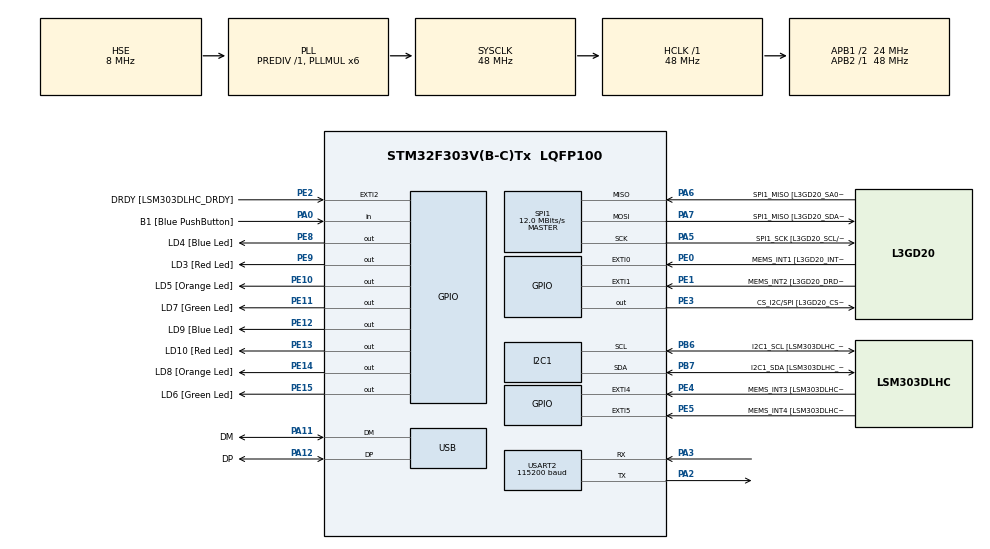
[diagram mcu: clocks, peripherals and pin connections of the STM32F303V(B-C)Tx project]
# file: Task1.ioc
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I2C1.Timing=0x00201D2B
I2C1.Timing-I2C=0x2000090E
Mcu.Family=STM32F3
Mcu.Name=STM32F303V(B-C)Tx
Mcu.Package=LQFP100
NVIC.PriorityGroup=NVIC_PRIORITYGROUP_0
PA0.GPIO_Label=B1 [Blue PushButton]
PA0.Signal=GPIO_Input
PA11.GPIO_Label=DM
PA11.Mode=Device
PA11.Signal=USB_DM
PA12.GPIO_Label=DP
PA12.Mode=Device
PA12.Signal=USB_DP
PA13.GPIO_Label=SWDIO
PA13.Mode=Serial_Wire
PA13.Signal=SYS_JTMS-SWDIO
PA14.GPIO_Label=SWCLK
PA14.Mode=Serial_Wire
PA14.Signal=SYS_JTCK-SWCLK
PA2.Mode=Asynchronous
PA2.Signal=USART2_TX
PA3.Mode=Asynchronous
PA3.Signal=USART2_RX
PA5.GPIO_Label=SPI1_SCK [L3GD20_SCL/SPC]
PA5.Mode=Full_Duplex_Master
PA5.Signal=SPI1_SCK
PA6.GPIO_Label=SPI1_MISO [L3GD20_SA0/SDO]
PA6.Mode=Full_Duplex_Master
PA6.Signal=SPI1_MISO
PA7.GPIO_Label=SPI1_MISO [L3GD20_SDA/SDI/SDO]
PA7.Mode=Full_Duplex_Master
PA7.Signal=SPI1_MOSI
PB3.GPIO_Label=SWO
PB3.Signal=SYS_JTDO-TRACESWO
PB6.GPIO_Label=I2C1_SCL [LSM303DLHC_SCL]
PB6.GPIO_Pu=GPIO_PULLUP
PB6.Mode=I2C
PB6.Signal=I2C1_SCL
PB7.GPIO_Label=I2C1_SDA [LSM303DLHC_SDA]
PB7.GPIO_Pu=GPIO_PULLUP
PB7.Mode=I2C
PB7.Signal=I2C1_SDA
PC14-OSC32_IN.GPIO_Label=OSC32_IN
PC14-OSC32_IN.Signal=RCC_OSC32_IN
PC15-OSC32_OUT.GPIO_Label=OSC32_OUT
PC15-OSC32_OUT.Signal=RCC_OSC32_OUT
PE0.GPIO_Label=MEMS_INT1 [L3GD20_INT1]
PE0.GPIO_ModeDefaultEXTI=GPIO_MODE_EVT_RISING
PE0.Signal=GPXTI0
PE1.GPIO_Label=MEMS_INT2 [L3GD20_DRDY/INT2]
PE1.GPIO_ModeDefaultEXTI=GPIO_MODE_EVT_RISING
PE1.Signal=GPXTI1
PE10.GPIO_Label=LD5 [Orange Led]
PE10.Signal=GPIO_Output
PE11.GPIO_Label=LD7 [Green Led]
PE11.Signal=GPIO_Output
PE12.GPIO_Label=LD9 [Blue Led]
PE12.Signal=GPIO_Output
PE13.GPIO_Label=LD10 [Red Led]
PE13.Signal=GPIO_Output
PE14.GPIO_Label=LD8 [Orange Led]
PE14.Signal=GPIO_Output
PE15.GPIO_Label=LD6 [Green Led]
PE15.Signal=GPIO_Output
PE2.GPIO_Label=DRDY [LSM303DLHC_DRDY]
PE2.GPIO_ModeDefaultEXTI=GPIO_MODE_EVT_RISING
PE2.Signal=GPXTI2
PE3.GPIO_Label=CS_I2C/SPI [L3GD20_CS_I2C/SPI]
PE3.Signal=GPIO_Output
PE4.GPIO_Label=MEMS_INT3 [LSM303DLHC_INT1]
PE4.GPIO_ModeDefaultEXTI=GPIO_MODE_EVT_RISING
PE4.Signal=GPXTI4
PE5.GPIO_Label=MEMS_INT4 [LSM303DLHC_INT2]
PE5.GPIO_ModeDefaultEXTI=GPIO_MODE_EVT_RISING
PE5.Signal=GPXTI5
PE8.GPIO_Label=LD4 [Blue Led]
PE8.Signal=GPIO_Output
PE9.GPIO_Label=LD3 [Red Led]
PE9.Signal=GPIO_Output
PF0-OSC_IN.GPIO_Label=OSC_IN
PF0-OSC_IN.Mode=HSE-External-Clock-Source
PF0-OSC_IN.Signal=RCC_OSC_IN
PF1-OSC_OUT.GPIO_Label=OSC_OUT
PF1-OSC_OUT.Signal=RCC_OSC_OUT
ProjectManager.HeapSize=0x200
ProjectManager.StackSize=0x400
ProjectManager.TargetToolchain=CMake
RCC.AHBFreq_Value=48000000
RCC.APB1CLKDivider=RCC_HCLK_DIV2
RCC.APB1Freq_Value=24000000
RCC.APB1TimFreq_Value=48000000
RCC.APB2Freq_Value=48000000
RCC.APB2TimFreq_Value=48000000
RCC.CortexFreq_Value=48000000
RCC.HCLKFreq_Value=48000000
RCC.HSE_VALUE=8000000
RCC.HSI_VALUE=8000000
RCC.LSE_VALUE=32768
RCC.PLLMUL=RCC_PLL_MUL6
RCC.SYSCLKFreq_VALUE=48000000
RCC.SYSCLKSourceVirtual=RCC_SYSCLKSOURCE_PLLCLK
RCC.USBFreq_Value=48000000
SPI1.BaudRatePrescaler=SPI_BAUDRATEPRESCALER_4
SPI1.BaudRatePrescaler-Full_Duplex_Master=SPI_BAUDRATEPRESCALER_2
SPI1.CalculateBaudRate=12.0 MBits/s
SPI1.CalculateBaudRate-Full_Duplex_Master=24.0 MBits/s
SPI1.Direction=SPI_DIRECTION_2LINES
SPI1.Mode=SPI_MODE_MASTER
SPI1.Mode-Full_Duplex_Master=SPI_MODE_MASTER
SPI1.VirtualType=VM_MASTER
USART2.BaudRate=115200
USART2.VirtualMode-Asynchronous=VM_ASYNC
board=STM32F3DISCOVERY

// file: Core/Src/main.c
/* USER CODE BEGIN Header */
/**
 ******************************************************************************
 * @file           : main.c
 * @brief          : Main program body
 ******************************************************************************
 * @attention
 *
 * Copyright (c) 2025 STMicroelectronics.
 * All rights reserved.
 *
 * This software is licensed under terms that can be found in the LICENSE file
 * in the root directory of this software component.
 * If no LICENSE file comes with this software, it is provided AS-IS.
 *
 ******************************************************************************
 */
/* USER CODE END Header */
#include "main.h"
#include "stdio.h"

I2C_HandleTypeDef hi2c1;

SPI_HandleTypeDef hspi1;

UART_HandleTypeDef huart2;

PCD_HandleTypeDef hpcd_USB_FS;

void SystemClock_Config(void);
static void MX_GPIO_Init(void);
static void MX_I2C1_Init(void);
static void MX_SPI1_Init(void);
static void MX_USART2_UART_Init(void);
static void MX_USB_PCD_Init(void);

/* USER CODE BEGIN 0 */
// Global handles generated by CubeMX
extern I2C_HandleTypeDef hi2c1;
extern UART_HandleTypeDef huart2;

// LSM303AGR configuration
#define LSM303AGR_ADDR (0x33) // 7-bit I2C address
#define WHO_AM_I_REG 0x0F
#define EXPECTED_ID 0x33

uint8_t whoami = 0;
char msg[64];

// Redirect printf to UART2
int _write(int file, char *ptr, int len)
{
  HAL_UART_Transmit(&huart2, (uint8_t *)ptr, len, HAL_MAX_DELAY);
  return len;
}
/* USER CODE END 0 */

int main(void)
{

  /* MCU Configuration--------------------------------------------------------*/

  /* Reset of all peripherals, Initializes the Flash interface and the Systick. */
  HAL_Init();

  /* Configure the system clock */
  SystemClock_Config();

  /* Initialize all configured peripherals */
  MX_GPIO_Init();
  MX_I2C1_Init();
  MX_SPI1_Init();
  MX_USART2_UART_Init();
  MX_USB_PCD_Init();
  /* USER CODE BEGIN 2 */
  printf("\r\n--- I2C WHO_AM_I Test ---\r\n");

  HAL_Delay(100); // let sensor stabilize

  // Check if device is responding
  if (HAL_I2C_IsDeviceReady(&hi2c1, LSM303AGR_ADDR, 3, HAL_MAX_DELAY) == HAL_OK)
  {
    printf("Device detected at 0x%X\r\n", LSM303AGR_ADDR >> 1);
  }
  else
  {
    printf("Device not found at 0x%X\r\n", LSM303AGR_ADDR >> 1);
  }

  // Read WHO_AM_I register
  if (HAL_I2C_Mem_Read(&hi2c1, LSM303AGR_ADDR, WHO_AM_I_REG, I2C_MEMADD_SIZE_8BIT, &whoami, 1, HAL_MAX_DELAY) == HAL_OK)
  {
    printf("WHO_AM_I Register = 0x%02X\r\n", whoami);
    if (whoami == EXPECTED_ID)
      printf("Sensor verified!\r\n");
    else
      printf("Wrong ID! Expected 0x%02X\r\n", EXPECTED_ID);
  }
  else
  {
    printf("Failed to read WHO_AM_I register.\r\n");
  }
  /* USER CODE END 2 */

  /* Infinite loop */
  while (1)
  {
    HAL_I2C_Mem_Read(&hi2c1, LSM303AGR_ADDR, WHO_AM_I_REG, I2C_MEMADD_SIZE_8BIT, &whoami, 1, HAL_MAX_DELAY);
    printf("WHO_AM_I = 0x%02X\r\n", whoami);
    HAL_Delay(2000);
  }
}

void SystemClock_Config(void)
{
  RCC_OscInitTypeDef RCC_OscInitStruct = {0};
  RCC_ClkInitTypeDef RCC_ClkInitStruct = {0};
  RCC_PeriphCLKInitTypeDef PeriphClkInit = {0};

  /** Initializes the RCC Oscillators according to the specified parameters
   * in the RCC_OscInitTypeDef structure.
   */
  RCC_OscInitStruct.OscillatorType = RCC_OSCILLATORTYPE_HSI | RCC_OSCILLATORTYPE_HSE;
  RCC_OscInitStruct.HSEState = RCC_HSE_BYPASS;
  RCC_OscInitStruct.HSEPredivValue = RCC_HSE_PREDIV_DIV1;
  RCC_OscInitStruct.HSIState = RCC_HSI_ON;
  RCC_OscInitStruct.HSICalibrationValue = RCC_HSICALIBRATION_DEFAULT;
  RCC_OscInitStruct.PLL.PLLState = RCC_PLL_ON;
  RCC_OscInitStruct.PLL.PLLSource = RCC_PLLSOURCE_HSE;
  RCC_OscInitStruct.PLL.PLLMUL = RCC_PLL_MUL6;
  if (HAL_RCC_OscConfig(&RCC_OscInitStruct) != HAL_OK)
  {
    Error_Handler();
  }

  /** Initializes the CPU, AHB and APB buses clocks
   */
  RCC_ClkInitStruct.ClockType = RCC_CLOCKTYPE_HCLK | RCC_CLOCKTYPE_SYSCLK | RCC_CLOCKTYPE_PCLK1 | RCC_CLOCKTYPE_PCLK2;
  RCC_ClkInitStruct.SYSCLKSource = RCC_SYSCLKSOURCE_PLLCLK;
  RCC_ClkInitStruct.AHBCLKDivider = RCC_SYSCLK_DIV1;
  RCC_ClkInitStruct.APB1CLKDivider = RCC_HCLK_DIV2;
  RCC_ClkInitStruct.APB2CLKDivider = RCC_HCLK_DIV1;

  if (HAL_RCC_ClockConfig(&RCC_ClkInitStruct, FLASH_LATENCY_1) != HAL_OK)
  {
    Error_Handler();
  }
  PeriphClkInit.PeriphClockSelection = RCC_PERIPHCLK_USB | RCC_PERIPHCLK_USART2 | RCC_PERIPHCLK_I2C1;
  PeriphClkInit.Usart2ClockSelection = RCC_USART2CLKSOURCE_PCLK1;
  PeriphClkInit.I2c1ClockSelection = RCC_I2C1CLKSOURCE_HSI;
  PeriphClkInit.USBClockSelection = RCC_USBCLKSOURCE_PLL;
  if (HAL_RCCEx_PeriphCLKConfig(&PeriphClkInit) != HAL_OK)
  {
    Error_Handler();
  }
}

static void MX_I2C1_Init(void)
{

  hi2c1.Instance = I2C1;
  hi2c1.Init.Timing = 0x00201D2B;
  hi2c1.Init.OwnAddress1 = 0;
  hi2c1.Init.AddressingMode = I2C_ADDRESSINGMODE_7BIT;
  hi2c1.Init.DualAddressMode = I2C_DUALADDRESS_DISABLE;
  hi2c1.Init.OwnAddress2 = 0;
  hi2c1.Init.OwnAddress2Masks = I2C_OA2_NOMASK;
  hi2c1.Init.GeneralCallMode = I2C_GENERALCALL_DISABLE;
  hi2c1.Init.NoStretchMode = I2C_NOSTRETCH_DISABLE;
  if (HAL_I2C_Init(&hi2c1) != HAL_OK)
  {
    Error_Handler();
  }

  /** Configure Analogue filter
   */
  if (HAL_I2CEx_ConfigAnalogFilter(&hi2c1, I2C_ANALOGFILTER_ENABLE) != HAL_OK)
  {
    Error_Handler();
  }

  /** Configure Digital filter
   */
  if (HAL_I2CEx_ConfigDigitalFilter(&hi2c1, 0) != HAL_OK)
  {
    Error_Handler();
  }
}

static void MX_SPI1_Init(void)
{

  /* SPI1 parameter configuration*/
  hspi1.Instance = SPI1;
  hspi1.Init.Mode = SPI_MODE_MASTER;
  hspi1.Init.Direction = SPI_DIRECTION_2LINES;
  hspi1.Init.DataSize = SPI_DATASIZE_4BIT;
  hspi1.Init.CLKPolarity = SPI_POLARITY_LOW;
  hspi1.Init.CLKPhase = SPI_PHASE_1EDGE;
  hspi1.Init.NSS = SPI_NSS_SOFT;
  hspi1.Init.BaudRatePrescaler = SPI_BAUDRATEPRESCALER_4;
  hspi1.Init.FirstBit = SPI_FIRSTBIT_MSB;
  hspi1.Init.TIMode = SPI_TIMODE_DISABLE;
  hspi1.Init.CRCCalculation = SPI_CRCCALCULATION_DISABLE;
  hspi1.Init.CRCPolynomial = 7;
  hspi1.Init.CRCLength = SPI_CRC_LENGTH_DATASIZE;
  hspi1.Init.NSSPMode = SPI_NSS_PULSE_ENABLE;
  if (HAL_SPI_Init(&hspi1) != HAL_OK)
  {
    Error_Handler();
  }
}

static void MX_USART2_UART_Init(void)
{

  huart2.Instance = USART2;
  huart2.Init.BaudRate = 115200;
  huart2.Init.WordLength = UART_WORDLENGTH_8B;
  huart2.Init.StopBits = UART_STOPBITS_1;
  huart2.Init.Parity = UART_PARITY_NONE;
  huart2.Init.Mode = UART_MODE_TX_RX;
  huart2.Init.HwFlowCtl = UART_HWCONTROL_NONE;
  huart2.Init.OverSampling = UART_OVERSAMPLING_16;
  huart2.Init.OneBitSampling = UART_ONE_BIT_SAMPLE_DISABLE;
  huart2.AdvancedInit.AdvFeatureInit = UART_ADVFEATURE_NO_INIT;
  if (HAL_UART_Init(&huart2) != HAL_OK)
  {
    Error_Handler();
  }
}

static void MX_USB_PCD_Init(void)
{

  hpcd_USB_FS.Instance = USB;
  hpcd_USB_FS.Init.dev_endpoints = 8;
  hpcd_USB_FS.Init.speed = PCD_SPEED_FULL;
  hpcd_USB_FS.Init.phy_itface = PCD_PHY_EMBEDDED;
  hpcd_USB_FS.Init.low_power_enable = DISABLE;
  hpcd_USB_FS.Init.battery_charging_enable = DISABLE;
  if (HAL_PCD_Init(&hpcd_USB_FS) != HAL_OK)
  {
    Error_Handler();
  }
}

static void MX_GPIO_Init(void)
{
  GPIO_InitTypeDef GPIO_InitStruct = {0};

  /* GPIO Ports Clock Enable */
  __HAL_RCC_GPIOE_CLK_ENABLE();
  __HAL_RCC_GPIOC_CLK_ENABLE();
  __HAL_RCC_GPIOF_CLK_ENABLE();
  __HAL_RCC_GPIOA_CLK_ENABLE();
  __HAL_RCC_GPIOB_CLK_ENABLE();

  /*Configure GPIO pin Output Level */
  HAL_GPIO_WritePin(GPIOE, CS_I2C_SPI_Pin | LD4_Pin | LD3_Pin | LD5_Pin | LD7_Pin | LD9_Pin | LD10_Pin | LD8_Pin | LD6_Pin, GPIO_PIN_RESET);

  /*Configure GPIO pins : DRDY_Pin MEMS_INT3_Pin MEMS_INT4_Pin MEMS_INT1_Pin
                           MEMS_INT2_Pin */
  GPIO_InitStruct.Pin = DRDY_Pin | MEMS_INT3_Pin | MEMS_INT4_Pin | MEMS_INT1_Pin | MEMS_INT2_Pin;
  GPIO_InitStruct.Mode = GPIO_MODE_EVT_RISING;
  GPIO_InitStruct.Pull = GPIO_NOPULL;
  HAL_GPIO_Init(GPIOE, &GPIO_InitStruct);

  /*Configure GPIO pins : CS_I2C_SPI_Pin LD4_Pin LD3_Pin LD5_Pin
                           LD7_Pin LD9_Pin LD10_Pin LD8_Pin
                           LD6_Pin */
  GPIO_InitStruct.Pin = CS_I2C_SPI_Pin | LD4_Pin | LD3_Pin | LD5_Pin | LD7_Pin | LD9_Pin | LD10_Pin | LD8_Pin | LD6_Pin;
  GPIO_InitStruct.Mode = GPIO_MODE_OUTPUT_PP;
  GPIO_InitStruct.Pull = GPIO_NOPULL;
  GPIO_InitStruct.Speed = GPIO_SPEED_FREQ_LOW;
  HAL_GPIO_Init(GPIOE, &GPIO_InitStruct);

  /*Configure GPIO pin : B1_Pin */
  GPIO_InitStruct.Pin = B1_Pin;
  GPIO_InitStruct.Mode = GPIO_MODE_INPUT;
  GPIO_InitStruct.Pull = GPIO_NOPULL;
  HAL_GPIO_Init(B1_GPIO_Port, &GPIO_InitStruct);

}

void Error_Handler(void)
{
  __disable_irq();
  while (1)
  {
  }
}
